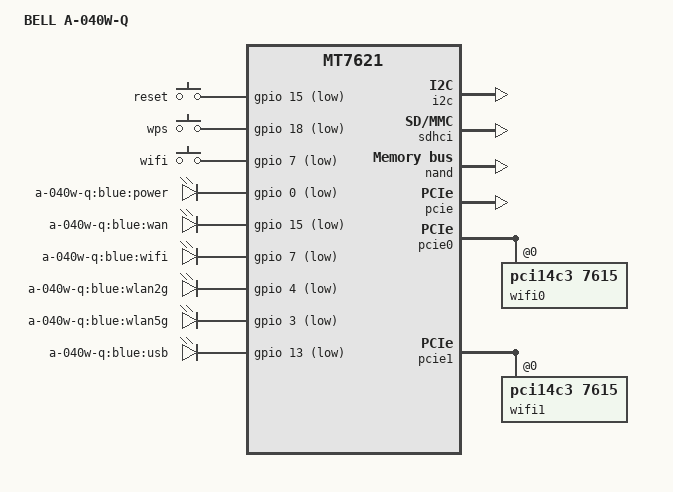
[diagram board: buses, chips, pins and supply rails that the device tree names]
// SPDX-License-Identifier: GPL-2.0-or-later OR MIT
/dts-v1/;

#include "mt7621.dtsi"

#include <dt-bindings/gpio/gpio.h>
#include <dt-bindings/input/input.h>

/ {
	compatible = "bell,a-040w-q", "mediatek,mt7621-soc";
	model = "BELL A-040W-Q";
	
	aliases {
		led-boot = &led_power;
		led-failsafe = &led_power;
		led-running = &led_power;
		led-upgrade = &led_power;
	};

	chosen {
		bootargs = "console=ttyS0,57600";
	};

	keys {
		compatible = "gpio-keys";

		reset {
			label = "reset";
			gpios = <&gpio 15 GPIO_ACTIVE_LOW>;
			linux,code = <KEY_RESTART>;
		};

		wps {
			label = "wps";
			gpios = <&gpio 18 GPIO_ACTIVE_LOW>;
			linux,code = <KEY_WPS_BUTTON>;
		};

		wifi {
			label = "wifi";
			gpios = <&gpio 7 GPIO_ACTIVE_LOW>;
			linux,code = <KEY_RFKILL>;
		};	
	};

	leds {
		compatible = "gpio-leds";

		led_power: power {
			label = "a-040w-q:blue:power";
			gpios = <&gpio 0 GPIO_ACTIVE_LOW>;
		};

		wan {
			label = "a-040w-q:blue:wan";			
			gpios = <&gpio 15 GPIO_ACTIVE_LOW>;
		};

		wifi {
			label = "a-040w-q:blue:wifi";			
			gpios = <&gpio 7 GPIO_ACTIVE_LOW>;
		};
		
		wlan2g {
			label = "a-040w-q:blue:wlan2g";
			gpios = <&gpio 4 GPIO_ACTIVE_LOW>;
			linux,default-trigger = "phy0radio";
		};

		wlan5g {
			label = "a-040w-q:blue:wlan5g";
			gpios = <&gpio 3 GPIO_ACTIVE_LOW>;
			linux,default-trigger = "phy1radio";
		};

		usb {
			label = "a-040w-q:blue:usb";			
			gpios = <&gpio 13 GPIO_ACTIVE_LOW>;
			linux,default-trigger = "usbport";
			trigger-sources = <&xhci_ehci_port1>;
		};	
	};
};

&i2c {
	status = "okay";
};

&sdhci {
	status = "okay";
};

&nand {
	status = "okay";

	partitions {
		compatible = "fixed-partitions";
		#address-cells = <1>;
		#size-cells = <1>;

		partition@0 {
			label = "u-boot";
			reg = <0x0 0x80000>;
			read-only;
		};

		partition@80000 {
			label = "debug";
			reg = <0x80000 0x80000>;
			read-only;
		};

		factory: partition@100000 {
			label = "factory";
			reg = <0x100000 0x40000>;
			read-only;
		};

		partition@140000 {
			label = "kernel";
			reg = <0x140000 0x400000>;
		};

		ubipart0: partition@540000 {
			label = "ubipart0";
			reg = <0x540000 0x1c80000>;
		};

		partition@21c0000 {
			label = "bdinfo";
			reg = <0x21c0000 0x80000>;
			read-only;
		};

		ubipart1: partition@2240000 {
			label = "ubipart1";
			reg = <0x2240000 0x5d40000>;
		};
	};
};

&pcie {
	status = "okay";
};

&pcie0 {
	wifi0: wifi@0,0 {
		compatible = "pci14c3,7615";
		reg = <0x0000 0 0 0 0>;
		mediatek,mtd-eeprom = <&factory 0x0000>;
		ieee80211-freq-limit = <2400000 2500000>;
	};
};

&pcie1 {
	wifi1: wifi@0,0 {
		compatible = "pci14c3,7615";
		reg = <0x0000 0 0 0 0>;
		mediatek,mtd-eeprom = <&factory 0x8000>;
		ieee80211-freq-limit = <5000000 6000000>;
	};
};

&gmac0 {
	mtd-mac-address = <&factory 0xe000>;
};

&switch0 {
	ports {
		port@0 {
			status = "okay";
			label = "wan";
		};

		port@1 {
			status = "okay";
			label = "lan1";
		};

		port@2 {
			status = "okay";
			label = "lan2";
		};

		port@3 {
			status = "okay";
			label = "lan3";
		};

		port@4 {
			status = "okay";
			label = "lan4";
		};
	};
};

&state_default {
	gpio {
		groups = "uart2", "uart3", "i2c";
		function = "gpio";
	};
};
